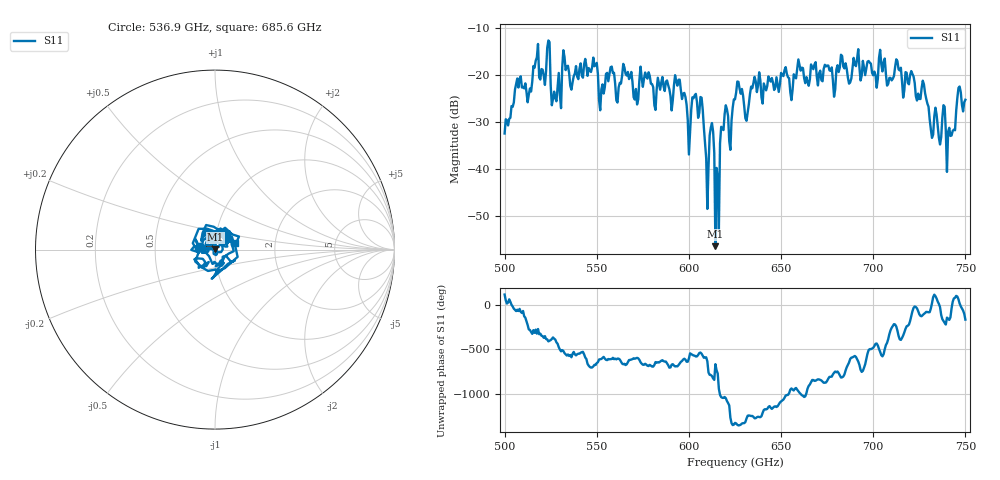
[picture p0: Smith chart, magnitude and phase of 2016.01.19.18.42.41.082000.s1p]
!Created with skrf (http://scikit-rf.org).
# GHz S RI R 50.0
!freq ReS11 ImS11
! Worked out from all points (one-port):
!   401 points, 500 GHz to 750 GHz, reference 50 ohm
!   lowest |S11| = -56.3 dB at 614.4 GHz (marker M1), VSWR 1.00, Z = 50.1 + j0.123 ohm
!   |S11| at or under -10 dB: start of sweep to end of sweep
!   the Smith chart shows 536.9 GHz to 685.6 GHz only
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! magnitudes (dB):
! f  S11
! 500 GHz  -32.4
! 507.5 GHz  -22.7
! 513.8 GHz  -22.9
! 516.9 GHz  -17.0
! 523.8 GHz  -12.7
! 526.9 GHz  -23.6
! 531.2 GHz  -18.5
! 562.5 GHz  -21.7
! 593.8 GHz  -22.3
! 600 GHz  -36.9
! 603.1 GHz  -24.4
! 606.9 GHz  -24.9
! 609.4 GHz  -37.7
! 612.5 GHz  -30.2
! 614.4 GHz  -56.3
! 615.6 GHz  -41.9
! 618.8 GHz  -31.7
! 622.5 GHz  -35.9
! 625 GHz  -25.2
! 631.2 GHz  -29.7
! 656.2 GHz  -23.2
! 660.6 GHz  -19.1
! 687.5 GHz  -21.6
! 690.6 GHz  -18.2
! 718.8 GHz  -21.7
! 741.2 GHz  -31.2
! 746.2 GHz  -22.8
! 750 GHz  -25.3
